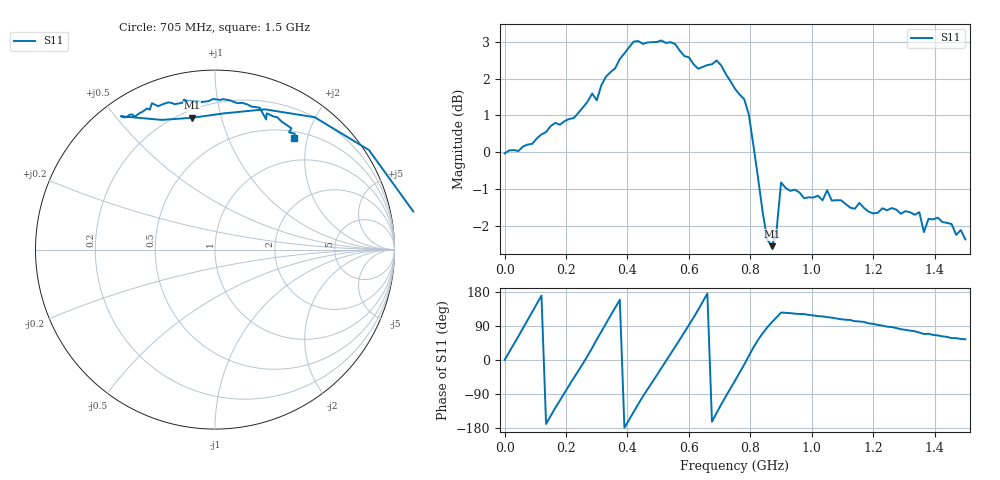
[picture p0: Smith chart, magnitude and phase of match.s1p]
! Created with skrf 1.8.0 (http://scikit-rf.org).
# Hz S RI R 50.0
!freq ReS11 ImS11
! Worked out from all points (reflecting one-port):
!   101 points, 50 kHz to 1.5 GHz, reference 50 ohm
!   lowest |S11| = -2.6 dB at 870 MHz (marker M1), VSWR 6.86, Z = 12.3 + j40.6 ohm
!   phase of S11 starts at 0 deg and turns +1135 deg over the sweep
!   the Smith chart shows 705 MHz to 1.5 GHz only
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50000  0.9965 0.000963
6.0048e7  0.1032 1.013
9.0047e7  -0.6186 0.8193
1.20046e8  -1.041 0.1851
1.50045e8  -0.9142 -0.5851
1.950435e8  0.0632 -1.1
2.40042e8  0.9935 -0.5404
2.70041e8  1.15 0.22
3.0004e8  0.6871 0.9549
3.30039e8  -0.1348 1.26
3.750375e8  -1.25 0.4794
4.20036e8  -1.035 -0.9623
4.650345e8  0.3002 -1.377
4.950335e8  1.072 -0.9183
5.250325e8  1.406 -0.0717
5.70031e8  0.8134 1.108
6.150295e8  -0.4935 1.221
6.60028e8  -1.309 0.1037
7.050265e8  -0.6063 -1.164
7.50025e8  0.7041 -0.9957
7.950235e8  1.105 0.2124
8.250225e8  0.5556 0.7374
8.70021e8  -0.1277 0.7344
9.0002e8  -0.5246 0.7431
9.450185e8  -0.4759 0.7516
1.125012e9  -0.2258 0.8099
1.320006e9  0.1788 0.8094
1.5e9  0.44 0.6213
